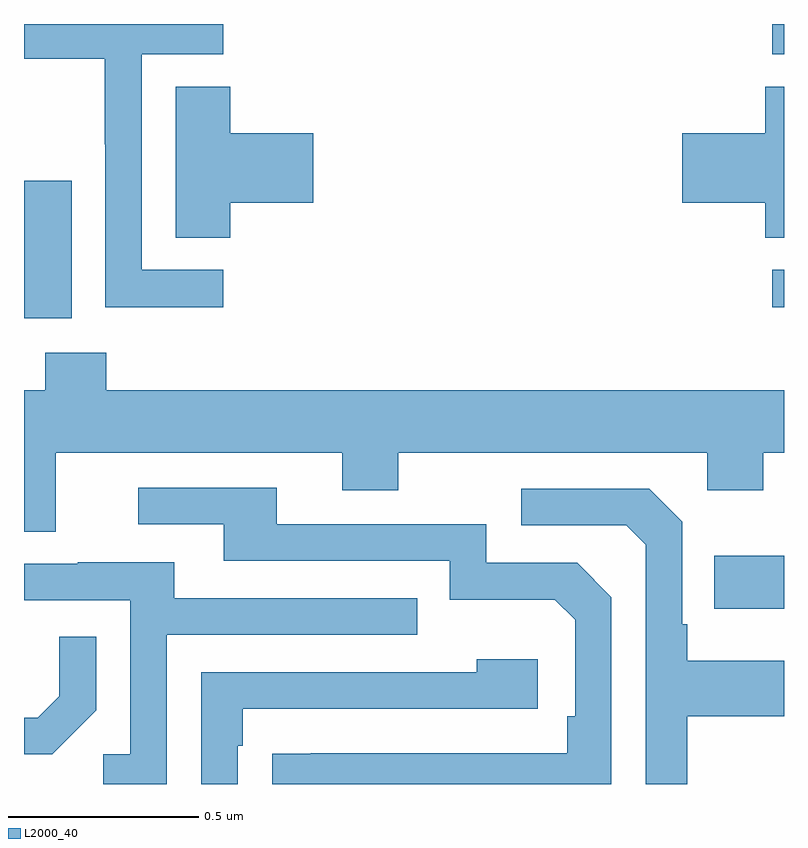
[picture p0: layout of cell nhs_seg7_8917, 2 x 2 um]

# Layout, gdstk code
import gdstk
lib = gdstk.Library(unit=1e-6, precision=1e-09)
def R(c, l, rs):  # rectangles x0, y0, x1, y1
    for r in rs: c.add(gdstk.rectangle(r[:2], r[2:], *l))
def P(c, l, *ps):  # polygons
    for p in ps: c.add(gdstk.Polygon(p, *l))
L2000_40 = (2000, 40)

nhs_seg7_8917 = lib.new_cell('nhs_seg7_8917')
R(nhs_seg7_8917, L2000_40, [(231.817,1077.461,232,1077.601), (230,1078.226,230.125,1078.587), (231.969,1078.255,232,1078.353), (231.969,1078.92,232,1079)])
P(nhs_seg7_8917, L2000_40, [(230.524,1078.353),(230.31,1078.353),(230.31,1078.92),(230.524,1078.92),(230.524,1079),(230,1079),(230,1078.908),(230.212,1078.908),(230.212,1078.684),(230.214,1078.684),(230.214,1078.255),(230.524,1078.255)],
  [(232,1078.835),(231.95,1078.835),(231.95,1078.712),(231.732,1078.712),(231.732,1078.529),(231.95,1078.529),(231.95,1078.438),(232,1078.438)],
  [(230.543,1078.529),(230.761,1078.529),(230.761,1078.712),(230.543,1078.712),(230.543,1078.835),(230.399,1078.835),(230.399,1078.438),(230.543,1078.438)],
  [(230.083,1077.872),(230.837,1077.872),(230.837,1077.773),(230.985,1077.773),(230.985,1077.872),(231.798,1077.872),(231.798,1077.773),(231.945,1077.773),(231.945,1077.872),(232,1077.872),(232,1078.036),(230.216,1078.036),(230.216,1078.135),(230.056,1078.135),(230.056,1078.036),(230,1078.036),(230,1077.664),(230.083,1077.664)],
  [(231.546,1077.492),(231.456,1077.582),(231.216,1077.582),(231.216,1077.684),(230.665,1077.684),(230.665,1077.78),(230.301,1077.78),(230.301,1077.684),(230.525,1077.684),(230.525,1077.588),(231.12,1077.588),(231.12,1077.485),(231.397,1077.485),(231.45,1077.432),(231.45,1077.178),(231.43,1077.178),(231.43,1077.081),(230.755,1077.081),(230.755,1077.08),(230.653,1077.08),(230.653,1077),(231.546,1077)],
  [(231.745,1077.178),(232,1077.178),(232,1077.325),(231.745,1077.325),(231.745,1077.421),(231.732,1077.421),(231.732,1077.69),(231.645,1077.777),(231.309,1077.777),(231.309,1077.681),(231.585,1077.681),(231.636,1077.63),(231.636,1077),(231.745,1077)],
  [(230.376,1077.393),(231.035,1077.393),(231.035,1077.489),(230.395,1077.489),(230.395,1077.583),(230.141,1077.583),(230.141,1077.579),(230,1077.579),(230,1077.483),(230.28,1077.483),(230.28,1077.078),(230.208,1077.078),(230.208,1077),(230.376,1077)],
  [(230.19,1077.194),(230.19,1077.388),(230.093,1077.388),(230.093,1077.231),(230.036,1077.174),(230,1077.174),(230,1077.078),(230.074,1077.078)],
  [(230.562,1077.101),(230.575,1077.101),(230.575,1077.198),(231.352,1077.198),(231.352,1077.328),(231.191,1077.328),(231.191,1077.294),(230.466,1077.294),(230.466,1077),(230.562,1077)])

lib.write_gds('nhs_seg7_8917.gds')
